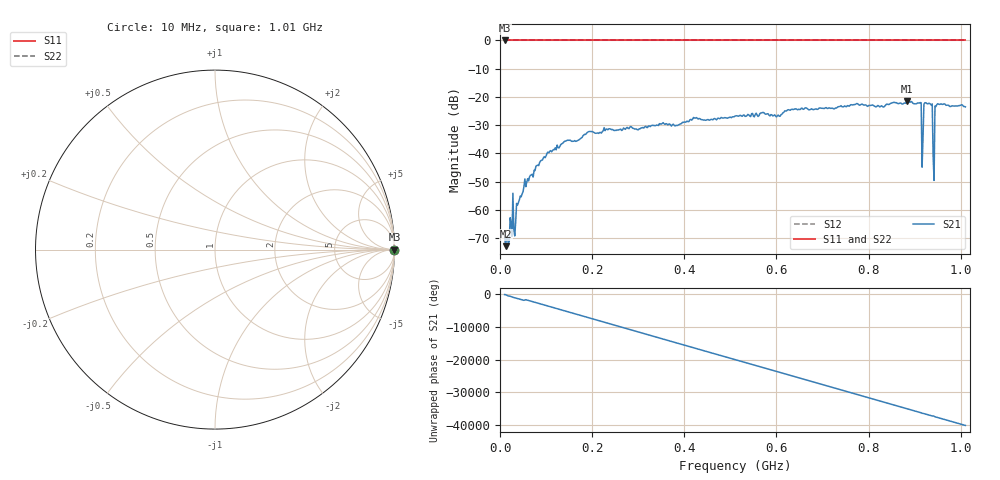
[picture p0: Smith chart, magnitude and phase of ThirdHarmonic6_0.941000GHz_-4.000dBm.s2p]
! 8/16/2025 6:36:31 AM
! C:\ANRITSUVNA\TEMP\TEMP.S2P
! CHANNEL.1
! TR.MEASUREMENT
! RAW.DATA
! RF.CORRECTION.OFF
! AVERAGING.OFF
! IF.BANDWIDTH: 5KHZ
! SWEEPTYPE:  FREQ.SWEEP(Linear)
! Reference Plane Port Info
! PORT:  PORT1  PORT2
! DISTANCE:  0  m  0  m
! TIME:  0  s  0  s
! PHASE.OFFSET:  0  deg.  0  deg.
! LOSS:  0  dB  0  dB
! REF.LOSS:  0  dB  0  dB
! REF.FREQ:  0  Hz  0  Hz
! Power Info
! POWER:  -20  dBm  -20  dBm
! EFF.POWER:  -20  dBm  -20  dBm
! SOURCE.ATTEN:  0  dB  0  dB
! TEST.ATTEN:  0  dB  0  dB
# GHZ S RI R 50.0
! FREQ.GHZ  S11RE  S11IM  S21RE  S21IM  S12RE  S12IM  S22RE  S22IM
!; PortSelection: Port_12
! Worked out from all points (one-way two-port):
!   501 points, 10 MHz to 1.01 GHz, reference 50 ohm
!   highest |S21| = -21.57 dB at 884 MHz (marker M1); lowest = -72.8 dB at 12 MHz (marker M2)
!   lowest |S11| = 0.0 dB at 10 MHz (marker M3)
!   |S11| at or under -10 dB: nowhere
!   |S22| runs from 0.0 to 0.0 dB; largest |S21 - S12| = 1.1
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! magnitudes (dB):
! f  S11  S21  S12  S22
! 10 MHz  0.0  -69.0  0.0  0.0
! 12 MHz  0.0  -72.8  0.0  0.0
! 34 MHz  0.0  -64.4  0.0  0.0
! 40 MHz  0.0  -57.4  0.0  0.0
! 56 MHz  0.0  -51.8  0.0  0.0
! 82 MHz  0.0  -44.1  0.0  0.0
! 178 MHz  0.0  -34.4  0.0  0.0
! 344 MHz  0.0  -30.1  0.0  0.0
! 510 MHz  0.0  -26.8  0.0  0.0
! 678 MHz  0.0  -24.4  0.0  0.0
! 844 MHz  0.0  -22.7  0.0  0.0
! 884 MHz  0.0  -21.6  0.0  0.0
! 910 MHz  0.0  -22.2  0.0  0.0
! 914 MHz  0.0  -22.1  0.0  0.0
! 916 MHz  0.0  -44.9  0.0  0.0
! 920 MHz  0.0  -22.6  0.0  0.0
! 924 MHz  0.0  -22.0  0.0  0.0
! 934 MHz  0.0  -22.5  0.0  0.0
! 938 MHz  0.0  -22.5  0.0  0.0
! 944 MHz  0.0  -23.2  0.0  0.0
! 948 MHz  0.0  -22.7  0.0  0.0
! 1.01 GHz  0.0  -23.5  0.0  0.0
